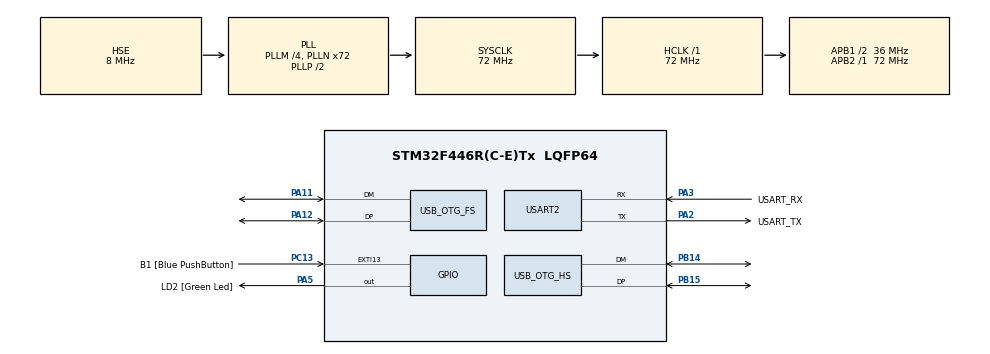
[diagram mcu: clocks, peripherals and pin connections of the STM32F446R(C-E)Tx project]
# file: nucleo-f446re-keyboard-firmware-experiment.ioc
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Mcu.Family=STM32F4
Mcu.Name=STM32F446R(C-E)Tx
Mcu.Package=LQFP64
NVIC.OTG_FS_IRQn=true\:0\:0\:false\:false\:true\:false\:true\:true
NVIC.OTG_HS_IRQn=true\:0\:0\:false\:false\:true\:false\:true\:true
NVIC.PriorityGroup=NVIC_PRIORITYGROUP_0
PA11.Mode=Device_Only
PA11.Signal=USB_OTG_FS_DM
PA12.Mode=Device_Only
PA12.Signal=USB_OTG_FS_DP
PA13.GPIO_Label=TMS
PA13.Mode=Serial_Wire
PA13.Signal=SYS_JTMS-SWDIO
PA14.GPIO_Label=TCK
PA14.Mode=Serial_Wire
PA14.Signal=SYS_JTCK-SWCLK
PA2.GPIO_Label=USART_TX
PA2.Mode=Asynchronous
PA2.Signal=USART2_TX
PA3.GPIO_Label=USART_RX
PA3.Mode=Asynchronous
PA3.Signal=USART2_RX
PA5.GPIO_Label=LD2 [Green Led]
PA5.Signal=GPIO_Output
PB14.Mode=Device_Only_FS
PB14.Signal=USB_OTG_HS_DM
PB15.Mode=Device_Only_FS
PB15.Signal=USB_OTG_HS_DP
PB3.GPIO_Label=SWO
PB3.Signal=SYS_JTDO-SWO
PC13.GPIO_Label=B1 [Blue PushButton]
PC13.GPIO_ModeDefaultEXTI=GPIO_MODE_IT_FALLING
PC13.Signal=GPXTI13
PC14-OSC32_IN.Mode=LSE-External-Oscillator
PC14-OSC32_IN.Signal=RCC_OSC32_IN
PC15-OSC32_OUT.Mode=LSE-External-Oscillator
PC15-OSC32_OUT.Signal=RCC_OSC32_OUT
PH0-OSC_IN.Mode=HSE-External-Oscillator
PH0-OSC_IN.Signal=RCC_OSC_IN
PH1-OSC_OUT.Mode=HSE-External-Oscillator
PH1-OSC_OUT.Signal=RCC_OSC_OUT
ProjectManager.HeapSize=0x200
ProjectManager.StackSize=0x400
ProjectManager.TargetToolchain=STM32CubeIDE
RCC.48MHZClocksFreq_Value=84000000
RCC.AHBFreq_Value=72000000
RCC.APB1CLKDivider=RCC_HCLK_DIV2
RCC.APB1Freq_Value=36000000
RCC.APB1TimFreq_Value=72000000
RCC.APB2Freq_Value=72000000
RCC.APB2TimFreq_Value=72000000
RCC.CortexFreq_Value=72000000
RCC.FLatency-AdvancedSettings=FLASH_LATENCY_2
RCC.HCLKFreq_Value=72000000
RCC.HSE_VALUE=8000000
RCC.HSI_VALUE=16000000
RCC.PLLM=4
RCC.PLLN=72
RCC.PLLQ=3
RCC.SYSCLKFreq_VALUE=72000000
RCC.SYSCLKSource=RCC_SYSCLKSOURCE_PLLCLK
RCC.USBFreq_Value=48000000
RCC.VCOOutputFreq_Value=144000000
USART2.VirtualMode=VM_ASYNC
USB_DEVICE.CLASS_NAME_FS=HID
USB_DEVICE.CLASS_NAME_HS=HID
USB_DEVICE.VirtualMode-HID_FS=Hid
USB_DEVICE.VirtualMode-HID_HS=Hid
USB_DEVICE.VirtualModeFS=Hid_FS
USB_DEVICE.VirtualModeHS=Hid_HS
USB_OTG_FS.VirtualMode=Device_Only
USB_OTG_HS.VirtualMode-Device_Only_FS=Device_Only_FS
VP_USB_DEVICE_VS_USB_DEVICE_HID_FS.Mode=HID_FS
VP_USB_DEVICE_VS_USB_DEVICE_HID_HS.Mode=HID_HS
board=NUCLEO-F446RE

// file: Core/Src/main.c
/* USER CODE BEGIN Header */
/**
  ******************************************************************************
  * @file           : main.c
  * @brief          : Main program body
  ******************************************************************************
  * @attention
  *
  * Copyright (c) 2023 STMicroelectronics.
  * All rights reserved.
  *
  * This software is licensed under terms that can be found in the LICENSE file
  * in the root directory of this software component.
  * If no LICENSE file comes with this software, it is provided AS-IS.
  *
  ******************************************************************************
  */
/* USER CODE END Header */
#include "main.h"
#include "usb_device.h"

/* USER CODE BEGIN Includes */
#include "usbd_hid.h"
/* USER CODE END Includes */

UART_HandleTypeDef huart2;

void SystemClock_Config(void);
static void MX_GPIO_Init(void);
static void MX_USART2_UART_Init(void);

/* USER CODE BEGIN 0 */
extern USBD_HandleTypeDef hUsbDeviceFS;
typedef struct
{
	uint8_t MODIFIER;
	uint8_t RESERVED;
	uint8_t KEYCODE1;
	uint8_t KEYCODE2;
	uint8_t KEYCODE3;
	uint8_t KEYCODE4;
	uint8_t KEYCODE5;
	uint8_t KEYCODE6;
} keyboardHID;

keyboardHID keyboardhid = {0,0,0,0,0,0};

/* USER CODE END 0 */

int main(void)
{

  /* MCU Configuration--------------------------------------------------------*/

  /* Reset of all peripherals, Initializes the Flash interface and the Systick. */
  HAL_Init();

  /* Configure the system clock */
  SystemClock_Config();

  /* Initialize all configured peripherals */
  MX_GPIO_Init();
  MX_USART2_UART_Init();
  MX_USB_DEVICE_Init();

  /* Infinite loop */
  while (1)
  {

    /* USER CODE BEGIN 3 */
	  keyboardhid.KEYCODE1 = 0x04; // Send an A
	  USBD_HID_SendReport(&hUsbDeviceFS, &keyboardhid, sizeof(keyboardhid));
	  HAL_Delay(50);
	  keyboardhid.KEYCODE1 = 0x00; // Send an A
	  USBD_HID_SendReport(&hUsbDeviceFS, &keyboardhid, sizeof(keyboardhid));
	  HAL_Delay(1000);
  }
  /* USER CODE END 3 */
}

void SystemClock_Config(void)
{
  RCC_OscInitTypeDef RCC_OscInitStruct = {0};
  RCC_ClkInitTypeDef RCC_ClkInitStruct = {0};

  /** Configure the main internal regulator output voltage
  */
  __HAL_RCC_PWR_CLK_ENABLE();
  __HAL_PWR_VOLTAGESCALING_CONFIG(PWR_REGULATOR_VOLTAGE_SCALE3);

  /** Initializes the RCC Oscillators according to the specified parameters
  * in the RCC_OscInitTypeDef structure.
  */
  RCC_OscInitStruct.OscillatorType = RCC_OSCILLATORTYPE_HSE;
  RCC_OscInitStruct.HSEState = RCC_HSE_ON;
  RCC_OscInitStruct.PLL.PLLState = RCC_PLL_ON;
  RCC_OscInitStruct.PLL.PLLSource = RCC_PLLSOURCE_HSE;
  RCC_OscInitStruct.PLL.PLLM = 4;
  RCC_OscInitStruct.PLL.PLLN = 72;
  RCC_OscInitStruct.PLL.PLLP = RCC_PLLP_DIV2;
  RCC_OscInitStruct.PLL.PLLQ = 3;
  RCC_OscInitStruct.PLL.PLLR = 2;
  if (HAL_RCC_OscConfig(&RCC_OscInitStruct) != HAL_OK)
  {
    Error_Handler();
  }

  /** Initializes the CPU, AHB and APB buses clocks
  */
  RCC_ClkInitStruct.ClockType = RCC_CLOCKTYPE_HCLK|RCC_CLOCKTYPE_SYSCLK
                              |RCC_CLOCKTYPE_PCLK1|RCC_CLOCKTYPE_PCLK2;
  RCC_ClkInitStruct.SYSCLKSource = RCC_SYSCLKSOURCE_PLLCLK;
  RCC_ClkInitStruct.AHBCLKDivider = RCC_SYSCLK_DIV1;
  RCC_ClkInitStruct.APB1CLKDivider = RCC_HCLK_DIV2;
  RCC_ClkInitStruct.APB2CLKDivider = RCC_HCLK_DIV1;

  if (HAL_RCC_ClockConfig(&RCC_ClkInitStruct, FLASH_LATENCY_2) != HAL_OK)
  {
    Error_Handler();
  }
}

static void MX_USART2_UART_Init(void)
{

  huart2.Instance = USART2;
  huart2.Init.BaudRate = 115200;
  huart2.Init.WordLength = UART_WORDLENGTH_8B;
  huart2.Init.StopBits = UART_STOPBITS_1;
  huart2.Init.Parity = UART_PARITY_NONE;
  huart2.Init.Mode = UART_MODE_TX_RX;
  huart2.Init.HwFlowCtl = UART_HWCONTROL_NONE;
  huart2.Init.OverSampling = UART_OVERSAMPLING_16;
  if (HAL_UART_Init(&huart2) != HAL_OK)
  {
    Error_Handler();
  }

}

static void MX_GPIO_Init(void)
{
  GPIO_InitTypeDef GPIO_InitStruct = {0};

  /* GPIO Ports Clock Enable */
  __HAL_RCC_GPIOC_CLK_ENABLE();
  __HAL_RCC_GPIOH_CLK_ENABLE();
  __HAL_RCC_GPIOA_CLK_ENABLE();
  __HAL_RCC_GPIOB_CLK_ENABLE();

  /*Configure GPIO pin Output Level */
  HAL_GPIO_WritePin(LD2_GPIO_Port, LD2_Pin, GPIO_PIN_RESET);

  /*Configure GPIO pin : B1_Pin */
  GPIO_InitStruct.Pin = B1_Pin;
  GPIO_InitStruct.Mode = GPIO_MODE_IT_FALLING;
  GPIO_InitStruct.Pull = GPIO_NOPULL;
  HAL_GPIO_Init(B1_GPIO_Port, &GPIO_InitStruct);

  /*Configure GPIO pin : LD2_Pin */
  GPIO_InitStruct.Pin = LD2_Pin;
  GPIO_InitStruct.Mode = GPIO_MODE_OUTPUT_PP;
  GPIO_InitStruct.Pull = GPIO_NOPULL;
  GPIO_InitStruct.Speed = GPIO_SPEED_FREQ_LOW;
  HAL_GPIO_Init(LD2_GPIO_Port, &GPIO_InitStruct);

}

void Error_Handler(void)
{
  __disable_irq();
  while (1)
  {
  }
}
